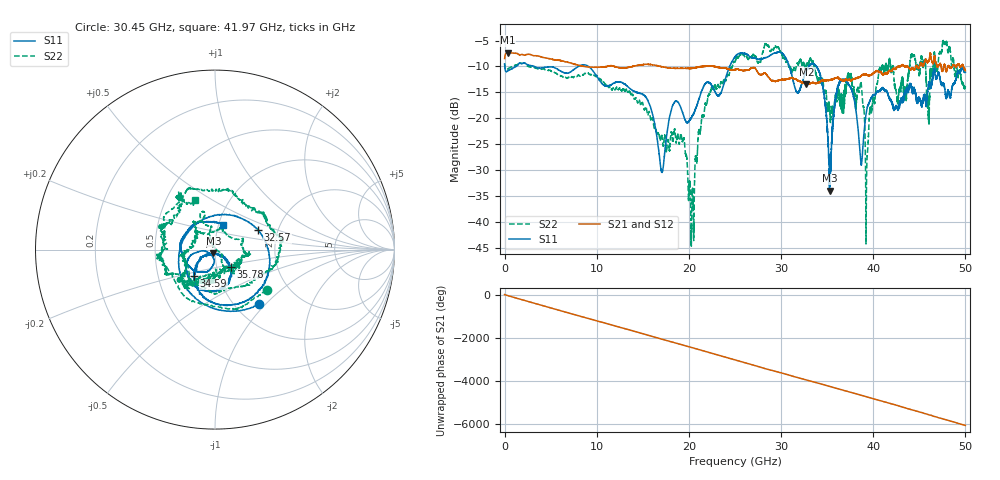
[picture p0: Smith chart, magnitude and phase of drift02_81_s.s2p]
!Created with skrf (http://scikit-rf.org).
# Hz S RI R 50.0
!freq ReS11 ImS11 ReS21 ImS21 ReS12 ImS12 ReS22 ImS22
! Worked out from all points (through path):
!   10001 points, 300 kHz to 50 GHz, reference 50 ohm
!   highest |S21| = -7.32 dB at 325.3 MHz (marker M1); lowest = -13.4 dB at 32.75 GHz (marker M2)
!   group delay of S21, straight-line fit = 335 ps
!   lowest |S11| = -34.0 dB at 35.26 GHz (marker M3), VSWR 1.04, Z = 49.1 - j1.77 ohm
!   |S11| at or under -10 dB: 3.225 GHz to 8.003 GHz (4.778 GHz wide, 85.1 % of centre); 9.107 GHz to 24.42 GHz (15.31 GHz wide, 91.3 % of centre); 33.85 GHz to 49.62 GHz (15.77 GHz wide, 37.8 % of centre) (the widest 3 of 10)
!   |S22| runs from -44.7 to -5.0 dB; largest |S21 - S12| = 0.013
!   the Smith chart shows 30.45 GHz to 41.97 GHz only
!   S11 on the Smith chart (normalised r, x): 30.45 GHz: 1.29, -0.92; 32.57 GHz: 1.58, +0.37; 34.59 GHz: 0.76, -0.23; 35.78 GHz: 1.17, -0.23; 41.97 GHz: 1.05, +0.30
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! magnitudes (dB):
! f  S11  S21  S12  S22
! 300 kHz  -9.5  -8.5  -8.5  -9.4
! 325.3 MHz  -10.9  -7.3  -7.3  -10.6
! 8.335 GHz  -9.7  -9.9  -9.9  -11.6
! 16.67 GHz  -25.5  -9.9  -9.9  -22.9
! 19.3 GHz  -18.9  -10.4  -10.3  -24.4
! 20.37 GHz  -19.5  -10.3  -10.3  -34.0
! 21.94 GHz  -13.1  -10.0  -9.9  -17.3
! 25 GHz  -8.2  -10.6  -10.6  -9.1
! 30.45 GHz  -8.2  -12.5  -12.4  -8.7
! 32.57 GHz  -11.6  -13.3  -13.3  -10.1
! 32.75 GHz  -10.8  -13.4  -13.5  -9.9
! 33.34 GHz  -9.6  -13.1  -13.2  -9.0
! 34.59 GHz  -14.4  -12.8  -12.7  -13.4
! 35.26 GHz  -34.0  -12.6  -12.6  -18.2
! 35.78 GHz  -17.7  -12.3  -12.4  -17.5
! 37.25 GHz  -13.2  -12.5  -12.6  -11.6
! 38.54 GHz  -25.9  -12.0  -12.0  -14.2
! 39.32 GHz  -18.2  -11.6  -11.6  -28.2
! 41.67 GHz  -15.8  -10.9  -11.0  -9.7
! 41.97 GHz  -16.7  -10.8  -10.8  -10.6
! 47.77 GHz  -14.4  -9.8  -9.8  -5.5
! 50 GHz  -11.1  -10.8  -10.8  -14.0
